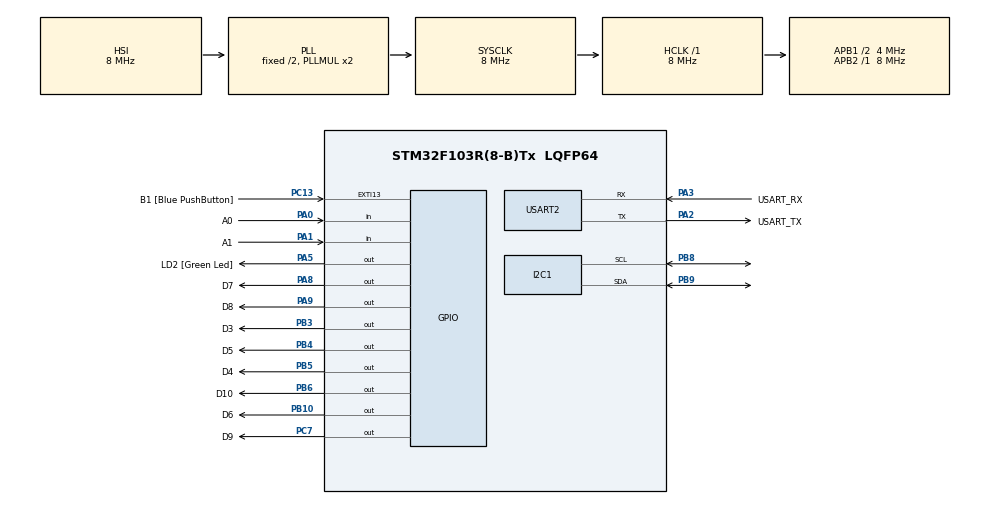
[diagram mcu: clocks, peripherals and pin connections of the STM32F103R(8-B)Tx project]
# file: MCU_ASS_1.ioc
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Mcu.Family=STM32F1
Mcu.Name=STM32F103R(8-B)Tx
Mcu.Package=LQFP64
NVIC.EXTI15_10_IRQn=true\:0\:0\:false\:false\:true\:true\:true
NVIC.PriorityGroup=NVIC_PRIORITYGROUP_4
NVIC.TIM2_IRQn=true\:0\:0\:false\:false\:true\:true\:true
PA0-WKUP.GPIO_Label=A0
PA0-WKUP.GPIO_PuPd=GPIO_PULLUP
PA0-WKUP.Signal=GPIO_Input
PA1.GPIO_Label=A1
PA1.GPIO_PuPd=GPIO_PULLUP
PA1.Signal=GPIO_Input
PA13.GPIO_Label=TMS
PA13.Mode=Serial_Wire
PA13.Signal=SYS_JTMS-SWDIO
PA14.GPIO_Label=TCK
PA14.Mode=Serial_Wire
PA14.Signal=SYS_JTCK-SWCLK
PA2.GPIO_Label=USART_TX
PA2.GPIO_Mode=GPIO_MODE_AF_PP
PA2.GPIO_PuPd=GPIO_NOPULL
PA2.GPIO_Speed=GPIO_SPEED_FREQ_LOW
PA2.Mode=Asynchronous
PA2.Signal=USART2_TX
PA3.GPIO_Label=USART_RX
PA3.GPIO_Mode=GPIO_MODE_AF_PP
PA3.GPIO_PuPd=GPIO_NOPULL
PA3.GPIO_Speed=GPIO_SPEED_FREQ_LOW
PA3.Mode=Asynchronous
PA3.Signal=USART2_RX
PA5.GPIO_Label=LD2 [Green Led]
PA5.GPIO_ModeDefaultOutputPP=GPIO_MODE_OUTPUT_PP
PA5.GPIO_PuPd=GPIO_NOPULL
PA5.GPIO_Speed=GPIO_SPEED_FREQ_LOW
PA5.Signal=GPIO_Output
PA8.GPIO_Label=D7
PA8.Signal=GPIO_Output
PA9.GPIO_Label=D8
PA9.Signal=GPIO_Output
PB10.GPIO_Label=D6
PB10.Signal=GPIO_Output
PB3.GPIO_Label=D3
PB3.Signal=GPIO_Output
PB4.GPIO_Label=D5
PB4.Signal=GPIO_Output
PB5.GPIO_Label=D4
PB5.Signal=GPIO_Output
PB6.GPIO_Label=D10
PB6.Signal=GPIO_Output
PB8.Mode=I2C
PB8.Signal=I2C1_SCL
PB9.Mode=I2C
PB9.Signal=I2C1_SDA
PC13-TAMPER-RTC.GPIO_Label=B1 [Blue PushButton]
PC13-TAMPER-RTC.GPIO_PuPd=GPIO_NOPULL
PC13-TAMPER-RTC.Signal=GPXTI13
PC14-OSC32_IN.Mode=LSE-External-Oscillator
PC14-OSC32_IN.Signal=RCC_OSC32_IN
PC15-OSC32_OUT.Mode=LSE-External-Oscillator
PC15-OSC32_OUT.Signal=RCC_OSC32_OUT
PC7.GPIO_Label=D9
PC7.Signal=GPIO_Output
PD0-OSC_IN.Mode=HSE-External-Clock-Source
PD0-OSC_IN.Signal=RCC_OSC_IN
PD1-OSC_OUT.Mode=HSE-External-Clock-Source
PD1-OSC_OUT.Signal=RCC_OSC_OUT
ProjectManager.HeapSize=0x200
ProjectManager.StackSize=0x400
ProjectManager.TargetToolchain=STM32CubeIDE
RCC.AHBFreq_Value=8000000
RCC.APB1CLKDivider=RCC_HCLK_DIV2
RCC.APB1Freq_Value=4000000
RCC.APB1TimFreq_Value=8000000
RCC.APB2Freq_Value=8000000
RCC.APB2TimFreq_Value=8000000
RCC.HCLKFreq_Value=8000000
RCC.RTCClockSelection=RCC_RTCCLKSOURCE_LSE
RCC.SYSCLKFreq_VALUE=8000000
RCC.SYSCLKSource=RCC_SYSCLKSOURCE_PLLCLK
RCC.USBFreq_Value=8000000
TIM2.Period=9
TIM2.Prescaler=7999
USART2.VirtualMode=VM_ASYNC
VP_TIM2_VS_ClockSourceINT.Mode=Internal
board=NUCLEO-F103RB

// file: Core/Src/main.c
/* USER CODE BEGIN Header */
/**
  ******************************************************************************
  * @file           : main.c
  * @brief          : Main program body
  ******************************************************************************
  * @attention
  *
  * <h2><center>&copy; Copyright (c) 2024 STMicroelectronics.
  * All rights reserved.</center></h2>
  *
  * This software component is licensed by ST under BSD 3-Clause license,
  * the "License"; You may not use this file except in compliance with the
  * License. You may obtain a copy of the License at:
  *                        opensource.org/licenses/BSD-3-Clause
  *
  ******************************************************************************
  */
/* USER CODE END Header */
#include "main.h"

/* USER CODE BEGIN Includes */
#include "button.h"
#include "scheduler.h"
#include "i2c_lcd.h"
#include "control_traffic.h"
#include "global.h"
#include "software_timer.h"
#include "fsm_automatic.h"
#include "fsm_mode.h"
#include "fsm_lcd.h"
#include "fsm_manual.h"
/* USER CODE END Includes */

I2C_HandleTypeDef hi2c1;

TIM_HandleTypeDef htim2;

UART_HandleTypeDef huart2;

void SystemClock_Config(void);
static void MX_GPIO_Init(void);
static void MX_USART2_UART_Init(void);
static void MX_I2C1_Init(void);
static void MX_TIM2_Init(void);

int main(void)
{

  /* MCU Configuration--------------------------------------------------------*/

  /* Reset of all peripherals, Initializes the Flash interface and the Systick. */
  HAL_Init();

  /* Configure the system clock */
  SystemClock_Config();

  /* Initialize all configured peripherals */
  MX_GPIO_Init();
  MX_USART2_UART_Init();
  MX_I2C1_Init();
  MX_TIM2_Init();
  /* USER CODE BEGIN 2 */
  HAL_TIM_Base_Start_IT(&htim2);
  lcd_init();
  /* USER CODE END 2 */

  /* Infinite loop */
  /* USER CODE BEGIN WHILE */
//  SCH_Add_Task(getKeyInput, 100, 10);
//  SCH_Add_Task(fsm_automatic_run, 100, 1000);
//  SCH_Add_Task(fsm_mode, 100, 1000);
  while (1)
  {
    /* USER CODE END WHILE */

    /* USER CODE BEGIN 3 */
	  fsm_automatic_run();
	  fsm_mode();
	  fsm_manual_run();
	  fsm_lcd_run();
  }
  /* USER CODE END 3 */
}

void SystemClock_Config(void)
{
  RCC_OscInitTypeDef RCC_OscInitStruct = {0};
  RCC_ClkInitTypeDef RCC_ClkInitStruct = {0};

  /** Initializes the RCC Oscillators according to the specified parameters
  * in the RCC_OscInitTypeDef structure.
  */
  RCC_OscInitStruct.OscillatorType = RCC_OSCILLATORTYPE_HSI;
  RCC_OscInitStruct.HSIState = RCC_HSI_ON;
  RCC_OscInitStruct.HSICalibrationValue = RCC_HSICALIBRATION_DEFAULT;
  RCC_OscInitStruct.PLL.PLLState = RCC_PLL_ON;
  RCC_OscInitStruct.PLL.PLLSource = RCC_PLLSOURCE_HSI_DIV2;
  RCC_OscInitStruct.PLL.PLLMUL = RCC_PLL_MUL2;
  if (HAL_RCC_OscConfig(&RCC_OscInitStruct) != HAL_OK)
  {
    Error_Handler();
  }
  /** Initializes the CPU, AHB and APB buses clocks
  */
  RCC_ClkInitStruct.ClockType = RCC_CLOCKTYPE_HCLK|RCC_CLOCKTYPE_SYSCLK
                              |RCC_CLOCKTYPE_PCLK1|RCC_CLOCKTYPE_PCLK2;
  RCC_ClkInitStruct.SYSCLKSource = RCC_SYSCLKSOURCE_PLLCLK;
  RCC_ClkInitStruct.AHBCLKDivider = RCC_SYSCLK_DIV1;
  RCC_ClkInitStruct.APB1CLKDivider = RCC_HCLK_DIV2;
  RCC_ClkInitStruct.APB2CLKDivider = RCC_HCLK_DIV1;

  if (HAL_RCC_ClockConfig(&RCC_ClkInitStruct, FLASH_LATENCY_0) != HAL_OK)
  {
    Error_Handler();
  }
}

static void MX_I2C1_Init(void)
{

  hi2c1.Instance = I2C1;
  hi2c1.Init.ClockSpeed = 100000;
  hi2c1.Init.DutyCycle = I2C_DUTYCYCLE_2;
  hi2c1.Init.OwnAddress1 = 0;
  hi2c1.Init.AddressingMode = I2C_ADDRESSINGMODE_7BIT;
  hi2c1.Init.DualAddressMode = I2C_DUALADDRESS_DISABLE;
  hi2c1.Init.OwnAddress2 = 0;
  hi2c1.Init.GeneralCallMode = I2C_GENERALCALL_DISABLE;
  hi2c1.Init.NoStretchMode = I2C_NOSTRETCH_DISABLE;
  if (HAL_I2C_Init(&hi2c1) != HAL_OK)
  {
    Error_Handler();
  }

}

static void MX_TIM2_Init(void)
{

  TIM_ClockConfigTypeDef sClockSourceConfig = {0};
  TIM_MasterConfigTypeDef sMasterConfig = {0};

  htim2.Instance = TIM2;
  htim2.Init.Prescaler = 7999;
  htim2.Init.CounterMode = TIM_COUNTERMODE_UP;
  htim2.Init.Period = 9;
  htim2.Init.ClockDivision = TIM_CLOCKDIVISION_DIV1;
  htim2.Init.AutoReloadPreload = TIM_AUTORELOAD_PRELOAD_DISABLE;
  if (HAL_TIM_Base_Init(&htim2) != HAL_OK)
  {
    Error_Handler();
  }
  sClockSourceConfig.ClockSource = TIM_CLOCKSOURCE_INTERNAL;
  if (HAL_TIM_ConfigClockSource(&htim2, &sClockSourceConfig) != HAL_OK)
  {
    Error_Handler();
  }
  sMasterConfig.MasterOutputTrigger = TIM_TRGO_RESET;
  sMasterConfig.MasterSlaveMode = TIM_MASTERSLAVEMODE_DISABLE;
  if (HAL_TIMEx_MasterConfigSynchronization(&htim2, &sMasterConfig) != HAL_OK)
  {
    Error_Handler();
  }

}

static void MX_USART2_UART_Init(void)
{

  huart2.Instance = USART2;
  huart2.Init.BaudRate = 115200;
  huart2.Init.WordLength = UART_WORDLENGTH_8B;
  huart2.Init.StopBits = UART_STOPBITS_1;
  huart2.Init.Parity = UART_PARITY_NONE;
  huart2.Init.Mode = UART_MODE_TX_RX;
  huart2.Init.HwFlowCtl = UART_HWCONTROL_NONE;
  huart2.Init.OverSampling = UART_OVERSAMPLING_16;
  if (HAL_UART_Init(&huart2) != HAL_OK)
  {
    Error_Handler();
  }

}

static void MX_GPIO_Init(void)
{
  GPIO_InitTypeDef GPIO_InitStruct = {0};

  /* GPIO Ports Clock Enable */
  __HAL_RCC_GPIOC_CLK_ENABLE();
  __HAL_RCC_GPIOD_CLK_ENABLE();
  __HAL_RCC_GPIOA_CLK_ENABLE();
  __HAL_RCC_GPIOB_CLK_ENABLE();

  /*Configure GPIO pin Output Level */
  HAL_GPIO_WritePin(GPIOA, LD2_Pin|D7_Pin|D8_Pin, GPIO_PIN_RESET);

  /*Configure GPIO pin Output Level */
  HAL_GPIO_WritePin(GPIOB, D6_Pin|D3_Pin|D5_Pin|D4_Pin
                          |D10_Pin, GPIO_PIN_RESET);

  /*Configure GPIO pin Output Level */
  HAL_GPIO_WritePin(D9_GPIO_Port, D9_Pin, GPIO_PIN_RESET);

  /*Configure GPIO pin : B1_Pin */
  GPIO_InitStruct.Pin = B1_Pin;
  GPIO_InitStruct.Mode = GPIO_MODE_IT_RISING;
  GPIO_InitStruct.Pull = GPIO_NOPULL;
  HAL_GPIO_Init(B1_GPIO_Port, &GPIO_InitStruct);

  /*Configure GPIO pins : A0_Pin A1_Pin */
  GPIO_InitStruct.Pin = A0_Pin|A1_Pin;
  GPIO_InitStruct.Mode = GPIO_MODE_INPUT;
  GPIO_InitStruct.Pull = GPIO_PULLUP;
  HAL_GPIO_Init(GPIOA, &GPIO_InitStruct);

  /*Configure GPIO pins : LD2_Pin D7_Pin D8_Pin */
  GPIO_InitStruct.Pin = LD2_Pin|D7_Pin|D8_Pin;
  GPIO_InitStruct.Mode = GPIO_MODE_OUTPUT_PP;
  GPIO_InitStruct.Pull = GPIO_NOPULL;
  GPIO_InitStruct.Speed = GPIO_SPEED_FREQ_LOW;
  HAL_GPIO_Init(GPIOA, &GPIO_InitStruct);

  /*Configure GPIO pins : D6_Pin D3_Pin D5_Pin D4_Pin
                           D10_Pin */
  GPIO_InitStruct.Pin = D6_Pin|D3_Pin|D5_Pin|D4_Pin
                          |D10_Pin;
  GPIO_InitStruct.Mode = GPIO_MODE_OUTPUT_PP;
  GPIO_InitStruct.Pull = GPIO_NOPULL;
  GPIO_InitStruct.Speed = GPIO_SPEED_FREQ_LOW;
  HAL_GPIO_Init(GPIOB, &GPIO_InitStruct);

  /*Configure GPIO pin : D9_Pin */
  GPIO_InitStruct.Pin = D9_Pin;
  GPIO_InitStruct.Mode = GPIO_MODE_OUTPUT_PP;
  GPIO_InitStruct.Pull = GPIO_NOPULL;
  GPIO_InitStruct.Speed = GPIO_SPEED_FREQ_LOW;
  HAL_GPIO_Init(D9_GPIO_Port, &GPIO_InitStruct);

  /* EXTI interrupt init*/
  HAL_NVIC_SetPriority(EXTI15_10_IRQn, 0, 0);
  HAL_NVIC_EnableIRQ(EXTI15_10_IRQn);

}

/* USER CODE BEGIN 4 */
void HAL_TIM_PeriodElapsedCallback(TIM_HandleTypeDef *htim) {
	timerun();
	getKeyInput();
}
/* USER CODE END 4 */

void Error_Handler(void)
{
  __disable_irq();
  while (1)
  {
  }
}

/************************ (C) COPYRIGHT STMicroelectronics *****END OF FILE****/
